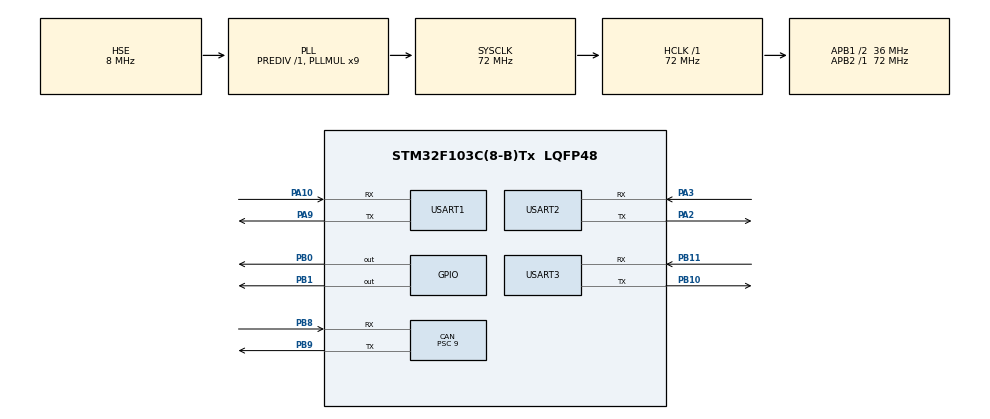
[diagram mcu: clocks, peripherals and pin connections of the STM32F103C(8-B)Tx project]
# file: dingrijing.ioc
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CAN.BS1=CAN_BS1_13TQ
CAN.BS2=CAN_BS2_2TQ
CAN.CalculateBaudRate=250000
CAN.CalculateTimeBit=4000
CAN.CalculateTimeQuantum=250.0
CAN.Prescaler=9
CAN.RFLM=DISABLE
Mcu.Family=STM32F1
Mcu.Name=STM32F103C(8-B)Tx
Mcu.Package=LQFP48
NVIC.PriorityGroup=NVIC_PRIORITYGROUP_4
NVIC.TIM2_IRQn=true\:0\:0\:false\:false\:true\:true\:true\:true
NVIC.USART1_IRQn=true\:0\:0\:false\:false\:true\:true\:true\:true
NVIC.USART2_IRQn=true\:0\:0\:false\:false\:true\:true\:true\:true
NVIC.USART3_IRQn=true\:0\:0\:false\:false\:true\:true\:true\:true
PA10.Mode=Asynchronous
PA10.Signal=USART1_RX
PA13.Mode=Serial_Wire
PA13.Signal=SYS_JTMS-SWDIO
PA14.Mode=Serial_Wire
PA14.Signal=SYS_JTCK-SWCLK
PA2.Mode=Asynchronous
PA2.Signal=USART2_TX
PA3.Mode=Asynchronous
PA3.Signal=USART2_RX
PA9.Mode=Asynchronous
PA9.Signal=USART1_TX
PB0.Signal=GPIO_Output
PB1.Signal=GPIO_Output
PB10.Mode=Asynchronous
PB10.Signal=USART3_TX
PB11.Mode=Asynchronous
PB11.Signal=USART3_RX
PB8.Mode=CAN_Activate
PB8.Signal=CAN_RX
PB9.Mode=CAN_Activate
PB9.Signal=CAN_TX
PD0-OSC_IN.Mode=HSE-External-Oscillator
PD0-OSC_IN.Signal=RCC_OSC_IN
PD1-OSC_OUT.Mode=HSE-External-Oscillator
PD1-OSC_OUT.Signal=RCC_OSC_OUT
ProjectManager.HeapSize=0x200
ProjectManager.StackSize=0x400
ProjectManager.TargetToolchain=MDK-ARM V5.32
RCC.AHBFreq_Value=72000000
RCC.APB1CLKDivider=RCC_HCLK_DIV2
RCC.APB1Freq_Value=36000000
RCC.APB1TimFreq_Value=72000000
RCC.APB2Freq_Value=72000000
RCC.APB2TimFreq_Value=72000000
RCC.HCLKFreq_Value=72000000
RCC.PLLMUL=RCC_PLL_MUL9
RCC.PLLSourceVirtual=RCC_PLLSOURCE_HSE
RCC.SYSCLKFreq_VALUE=72000000
RCC.SYSCLKSource=RCC_SYSCLKSOURCE_PLLCLK
RCC.USBFreq_Value=72000000
TIM2.AutoReloadPreload=TIM_AUTORELOAD_PRELOAD_ENABLE
TIM2.Period=199
TIM2.Prescaler=35999
USART1.VirtualMode=VM_ASYNC
USART2.VirtualMode=VM_ASYNC
USART3.VirtualMode=VM_ASYNC
VP_TIM2_VS_ClockSourceINT.Mode=Internal
board=custom

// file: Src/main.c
/* USER CODE BEGIN Header */
/**
  ******************************************************************************
  * @file           : main.c
  * @brief          : 定日镜清洗车防撞报警系统 - 主程序
  *
  * 系统概述：
  *   - 采集 4 路超声波（RS485/Modbus，地址 01~04，9600bps）
  *   - 采集 1 路倾角传感器（RS232/Modbus，地址 05，115200bps）
  *   - 根据距离和倾角计算三级报警，驱动 LED + 蜂鸣器
  *   - 通过 CAN 总线（250kbps，帧 ID 0x100）向上位机发送状态
  *
  * 主循环架构：
  *   - TIM2 定时中断每 100ms 置位 g_sensor_ready 标志
  *   - 主循环检测到标志后执行 Sensor_Task()，完成 5 个传感器查询
  *   - LED + 蜂鸣器每 50ms 刷新一次，保证闪烁流畅
  *
  * 【重要】如需修改报警阈值、盲区边界、消抖次数等参数，
  *         请去对应头文件中找 "【可微调】" 标注的宏定义。
  ******************************************************************************
  */
/* USER CODE END Header */

#include "main.h"
#include "usart.h"
#include "gpio.h"
#include "can.h"
#include "tim.h"

/* USER CODE BEGIN Includes */
#include "us_sensor.h"    /* 超声波驱动 */
#include "tilt_sensor.h"  /* 倾角驱动 */
#include "alarm.h"        /* 报警计算 */
#include "indicator.h"    /* LED + 蜂鸣器 */
#include "can_tx.h"       /* CAN 发送 */
#include "debug.h"        /* 串口调试打印 */
#include "hmi.h"          /* 串口屏显示 */
/* USER CODE END Includes */

/* USER CODE BEGIN PV */
/* g_sensor_ready：TIM2 中断置 1，主循环检测到后清 0 并执行采集
 * volatile 修饰：防止编译器优化，确保主循环能从中断中正确读取 */
volatile uint8_t g_sensor_ready = 0;
/* USER CODE END PV */

void SystemClock_Config(void);
/* USER CODE BEGIN PFP */
static void Sensor_Task(void);      /* 传感器采集任务（100ms 执行一次） */
void Force_USART_Baudrates(void);   /* 覆盖 CubeMX 默认波特率 */
/* USER CODE END PFP */

/* USER CODE BEGIN 0 */

/**
  * @brief  TIM2 周期中断回调函数
  * @note   CubeMX 配置的 TIM2 周期为 100ms（PSC=35999, ARR=199）
  *         每次中断将 g_sensor_ready 置 1，通知主循环执行 Sensor_Task()
  */
void HAL_TIM_PeriodElapsedCallback(TIM_HandleTypeDef *htim)
{
  if (htim == &htim2) {
    g_sensor_ready = 1;
  }
}

/* USER CODE END 0 */

/**
  * @brief  程序入口点
  * @retval int
  */
int main(void)
{
  /* HAL 库初始化（时钟、滴答定时器等） */
  HAL_Init();

  /* 系统时钟配置：72MHz（HSE 8MHz -> PLL x9） */
  SystemClock_Config();

  /* CubeMX 生成的外设初始化 */
  MX_GPIO_Init();
  MX_USART1_UART_Init();   /* 调试串口，PA9/PA10，115200 */
  MX_USART2_UART_Init();   /* RS485 -> 4路超声波，PA2/PA3，CubeMX默认9600 */
  MX_USART3_UART_Init();   /* RS232 -> 倾角传感器，PB10/PB11，CubeMX默认115200 */
  MX_CAN_Init();           /* CAN 外设初始化（PB8/PB9，250kbps） */
  MX_TIM2_Init();          /* TIM2 定时器初始化（100ms 周期） */

  /* USER CODE BEGIN 2 */

  /* 【可微调】覆盖 USART 波特率
   * 说明：CubeMX 生成的是默认配置，这里强制改成实际需要的值
   *       USART2=9600（超声波），USART3=115200（倾角） */
  Force_USART_Baudrates();

  /* 启动 CAN 控制器 + 配置过滤器（必须调用，否则发不出去） */
  CAN_Start();

  /* 【上电延时】等待超声波传感器完成初始化
   * 说明：超声波模块上电后需要几百毫秒才能稳定工作，
   *       如果立即开始查询，可能收到 0 或错误值导致误报警。
   *       这里延时 500ms，让传感器彻底就绪。 */
  HAL_Delay(500);

  /* 初始化 LED 和蜂鸣器 GPIO，并做上电自检闪烁 */
  Indicator_Init();

  /* 启动 TIM2 定时中断（100ms 周期） */
  HAL_TIM_Base_Start_IT(&htim2);

  /* USER CODE END 2 */

  /* ======================================================================
   * 主循环（无限循环，永不退出）
   * ====================================================================== */
  while (1)
  {
    uint32_t tick_now = HAL_GetTick();   /* 获取系统运行毫秒数 */
    static uint32_t tick_led = 0;        /* LED 上次刷新时间 */

    /* ---------- 50ms 刷新 LED + 蜂鸣器 ----------
     * 说明：独立于传感器采集，保证闪烁节奏稳定流畅 */
    if (tick_now - tick_led >= 50) {
      tick_led = tick_now;
      LED_PC13_Update(alarm_level);   /* 板载绿灯：整体报警 */
      LED_PB1_Update(alarm_level);    /* 外接红灯：与蜂鸣器同步 */
      Buzzer_Update(alarm_level);     /* PB0 蜂鸣器：声音报警 */
    }

    /* ---------- 100ms 传感器采集（TIM2 中断标志驱动） ----------
     * 说明：g_sensor_ready 由 TIM2 中断每 100ms 置 1。
     *       如果 Sensor_Task() 执行时间超过 100ms（比如某个传感器超时），
     *       下一帧会延迟到本轮主循环中执行，不会丢失。 */
    if (g_sensor_ready) {
      g_sensor_ready = 0;
      Sensor_Task();
    }

    /* 低功耗轮询：休眠 5ms，避免 CPU 空转 100% */
    HAL_Delay(5);
  }
}

/**
  * @brief  传感器采集与报警计算任务（每 100ms 执行一次）
  * @note   本函数按顺序查询 US1~US4 + 倾角，然后计算报警等级。
  *         正常情况下耗时约 90ms，刚好在 100ms 周期内完成。
  *         最坏情况（全部超时）约 125ms，偶尔超周期。
  */
static void Sensor_Task(void)
{
  /* 接收缓冲区：大小 32 字节，防止异常数据溢出写坏内存 */
  uint8_t rx[SENSOR_RX_BUF_SIZE];
  uint8_t rxlen;    /* 实际接收到的字节数 */
  uint8_t i;

  /* ---- 保存上一帧距离（用于跳变检测）---- */
  for (i = 0; i < 4; i++) {
    us_dist_last[i] = us_dist_mm[i];
  }

  /* ======================================================================
   * US1 查询（地址 01）
   * 逻辑：发送查询 -> 接收应答 -> 解析 -> 失败时补盲区或标记未知
   * ====================================================================== */
  US_ClearErrors();
  rxlen = 0;
  if (US_QueryRaw(US_ADDR1, rx, &rxlen)) {
    /* 收到数据，尝试解析 */
    if (!US_ParseResponse(rx, rxlen, US_ADDR1)) {
      /* 解析失败（CRC 错/格式错） */
      us_no_echo_cnt[0]++;
      if (us_blind_cnt[0] == 0) {
        /* 不在盲区时：如果上一帧 <80mm，补盲区（障碍物可能还在）；否则标记未知 */
        if (us_dist_mm[0] < US_BLIND_MM) us_blind_cnt[0] = BLIND_HOLD_CNT;
        else us_dist_mm[0] = 9999.0f;   /* 9999 = 未知/无效 */
      }
    } else {
      /* 解析成功 */
      us_no_echo_cnt[0] = 0;
    }
  } else {
    /* 超时未收到任何数据 */
    us_no_echo_cnt[0]++;
    if (us_blind_cnt[0] == 0) {
      if (us_dist_mm[0] < US_BLIND_MM) us_blind_cnt[0] = BLIND_HOLD_CNT;
      else us_dist_mm[0] = 9999.0f;
    }
  }

  /* ======================================================================
   * US2 查询（地址 02）- 逻辑与 US1 完全相同
   * ====================================================================== */
  US_ClearErrors();
  rxlen = 0;
  if (US_QueryRaw(US_ADDR2, rx, &rxlen)) {
    if (!US_ParseResponse(rx, rxlen, US_ADDR2)) {
      us_no_echo_cnt[1]++;
      if (us_blind_cnt[1] == 0) {
        if (us_dist_mm[1] < US_BLIND_MM) us_blind_cnt[1] = BLIND_HOLD_CNT;
        else us_dist_mm[1] = 9999.0f;
      }
    } else {
      us_no_echo_cnt[1] = 0;
    }
  } else {
    us_no_echo_cnt[1]++;
    if (us_blind_cnt[1] == 0) {
      if (us_dist_mm[1] < US_BLIND_MM) us_blind_cnt[1] = BLIND_HOLD_CNT;
      else us_dist_mm[1] = 9999.0f;
    }
  }

  /* ======================================================================
   * US3 查询（地址 03）- 逻辑与 US1 完全相同
   * ====================================================================== */
  US_ClearErrors();
  rxlen = 0;
  if (US_QueryRaw(US_ADDR3, rx, &rxlen)) {
    if (!US_ParseResponse(rx, rxlen, US_ADDR3)) {
      us_no_echo_cnt[2]++;
      if (us_blind_cnt[2] == 0) {
        if (us_dist_mm[2] < US_BLIND_MM) us_blind_cnt[2] = BLIND_HOLD_CNT;
        else us_dist_mm[2] = 9999.0f;
      }
    } else {
      us_no_echo_cnt[2] = 0;
    }
  } else {
    us_no_echo_cnt[2]++;
    if (us_blind_cnt[2] == 0) {
      if (us_dist_mm[2] < US_BLIND_MM) us_blind_cnt[2] = BLIND_HOLD_CNT;
      else us_dist_mm[2] = 9999.0f;
    }
  }

  /* ======================================================================
   * US4 查询（地址 04）- 逻辑与 US1 完全相同
   * ====================================================================== */
  US_ClearErrors();
  rxlen = 0;
  if (US_QueryRaw(US_ADDR4, rx, &rxlen)) {
    if (!US_ParseResponse(rx, rxlen, US_ADDR4)) {
      us_no_echo_cnt[3]++;
      if (us_blind_cnt[3] == 0) {
        if (us_dist_mm[3] < US_BLIND_MM) us_blind_cnt[3] = BLIND_HOLD_CNT;
        else us_dist_mm[3] = 9999.0f;
      }
    } else {
      us_no_echo_cnt[3] = 0;
    }
  } else {
    us_no_echo_cnt[3]++;
    if (us_blind_cnt[3] == 0) {
      if (us_dist_mm[3] < US_BLIND_MM) us_blind_cnt[3] = BLIND_HOLD_CNT;
      else us_dist_mm[3] = 9999.0f;
    }
  }

  /* ======================================================================
   * 倾角传感器查询（地址 05）
   * 说明：倾角没有盲区逻辑，查询失败时保持上一帧值（由调用方判断 no_echo_cnt）
   * ====================================================================== */
  Tilt_ClearErrors();
  rxlen = 0;
  if (Tilt_QueryRaw(rx, &rxlen)) {
    Tilt_ParseResponse(rx, rxlen);
  }

  /* ======================================================================
   * 报警计算与状态更新
   * ====================================================================== */
  Calculate_Alarm_Level();   /* 根据传感器数据计算各独立等级 */

  /* 整体报警等级 = max(超声波等级, 倾角等级) */
  uint8_t new_level = (dist_alarm_level > tilt_alarm_level) ? dist_alarm_level : tilt_alarm_level;
  Alarm_StateMachine(new_level);  /* 经过消抖后更新 alarm_level */

  /* ======================================================================
   * CAN 总线发送状态帧
   * ====================================================================== */
  CAN_SendStatus();

  /* ======================================================================
   * 串口调试打印（USART1，USB-TTL）
   * 说明：仅在报警等级变化时打印，或每 5 秒强制打印一次，避免刷屏
   * ====================================================================== */
  Debug_Print();

  /* ======================================================================
   * 串口屏刷新（USART1，大彩 DC48270DN043）
   * 说明：每 300ms 刷新一次屏幕显示。
   *       【重要】外接串口屏时，请拔掉 USB-TTL，避免 USART1 总线冲突。
   * ====================================================================== */
  HMI_Update();
}

/**
  * @brief  系统时钟配置
  * @note   72MHz：HSE 8MHz -> 经 PLL 倍频 9 倍 = 72MHz
  *         APB1 = 36MHz（但 TIM2 时钟会翻倍到 72MHz）
  *         APB2 = 72MHz
  */
void SystemClock_Config(void)
{
  RCC_OscInitTypeDef RCC_OscInitStruct = {0};
  RCC_ClkInitTypeDef RCC_ClkInitStruct = {0};

  RCC_OscInitStruct.OscillatorType = RCC_OSCILLATORTYPE_HSE;
  RCC_OscInitStruct.HSEState = RCC_HSE_ON;
  RCC_OscInitStruct.HSEPredivValue = RCC_HSE_PREDIV_DIV1;
  RCC_OscInitStruct.HSIState = RCC_HSI_ON;
  RCC_OscInitStruct.PLL.PLLState = RCC_PLL_ON;
  RCC_OscInitStruct.PLL.PLLSource = RCC_PLLSOURCE_HSE;
  RCC_OscInitStruct.PLL.PLLMUL = RCC_PLL_MUL9;
  if (HAL_RCC_OscConfig(&RCC_OscInitStruct) != HAL_OK) Error_Handler();

  RCC_ClkInitStruct.ClockType = RCC_CLOCKTYPE_HCLK|RCC_CLOCKTYPE_SYSCLK
                              |RCC_CLOCKTYPE_PCLK1|RCC_CLOCKTYPE_PCLK2;
  RCC_ClkInitStruct.SYSCLKSource = RCC_SYSCLKSOURCE_PLLCLK;
  RCC_ClkInitStruct.AHBCLKDivider = RCC_SYSCLK_DIV1;
  RCC_ClkInitStruct.APB1CLKDivider = RCC_HCLK_DIV2;
  RCC_ClkInitStruct.APB2CLKDivider = RCC_HCLK_DIV1;

  if (HAL_RCC_ClockConfig(&RCC_ClkInitStruct, FLASH_LATENCY_2) != HAL_OK) Error_Handler();
}

/* USER CODE BEGIN 4 */

/**
  * @brief  强制覆盖 USART 波特率
  * @note   CubeMX 生成的初始化代码可能使用默认波特率，
  *         这里在 MX_USARTx_UART_Init() 之后重新初始化，
  *         确保 USART2=9600（超声波），USART3=115200（倾角）
  */
void Force_USART_Baudrates(void)
{
  huart2.Init.BaudRate = 9600;
  if (HAL_UART_Init(&huart2) != HAL_OK) Error_Handler();

  huart3.Init.BaudRate = 115200;
  if (HAL_UART_Init(&huart3) != HAL_OK) Error_Handler();
}

/* USER CODE END 4 */

/**
  * @brief  错误处理函数
  * @note   一旦发生致命错误（如外设初始化失败），关闭所有中断并死循环
  *         此时 LED 和蜂鸣器停止刷新，表现为"卡死"
  */
void Error_Handler(void)
{
  __disable_irq();   /* 关闭全局中断 */
  while (1) {}       /* 死循环，等待人工复位 */
}
